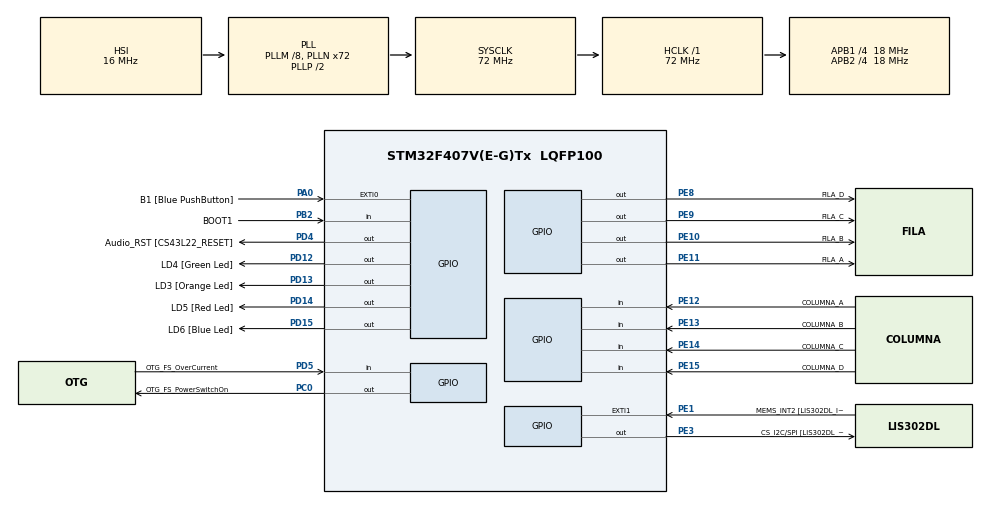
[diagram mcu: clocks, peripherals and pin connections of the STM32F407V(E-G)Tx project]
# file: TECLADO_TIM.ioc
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Mcu.Family=STM32F4
Mcu.Name=STM32F407V(E-G)Tx
Mcu.Package=LQFP100
NVIC.PriorityGroup=NVIC_PRIORITYGROUP_0
NVIC.TIM8_TRG_COM_TIM14_IRQn=true\:0\:0\:false\:false\:true\:true\:true\:true
PA0-WKUP.GPIO_Label=B1 [Blue PushButton]
PA0-WKUP.Signal=GPXTI0
PA10.GPIO_Label=OTG_FS_ID
PA10.GPIO_Mode=GPIO_MODE_AF_PP
PA10.GPIO_PuPd=GPIO_NOPULL
PA10.GPIO_Speed=GPIO_SPEED_FREQ_LOW
PA10.Signal=USB_OTG_FS_ID
PA11.GPIO_Label=OTG_FS_DM
PA11.GPIO_Mode=GPIO_MODE_AF_PP
PA11.GPIO_PuPd=GPIO_NOPULL
PA11.GPIO_Speed=GPIO_SPEED_FREQ_LOW
PA11.Signal=USB_OTG_FS_DM
PA12.GPIO_Label=OTG_FS_DP
PA12.GPIO_Mode=GPIO_MODE_AF_PP
PA12.GPIO_PuPd=GPIO_NOPULL
PA12.GPIO_Speed=GPIO_SPEED_FREQ_LOW
PA12.Signal=USB_OTG_FS_DP
PA13.GPIO_Label=SWDIO
PA13.Signal=SYS_JTMS-SWDIO
PA14.GPIO_Label=SWCLK
PA14.Signal=SYS_JTCK-SWCLK
PA4.GPIO_Label=I2S3_WS [CS43L22_LRCK]
PA4.GPIO_Mode=GPIO_MODE_AF_PP
PA4.GPIO_PuPd=GPIO_NOPULL
PA4.GPIO_Speed=GPIO_SPEED_FREQ_LOW
PA4.Signal=I2S3_WS
PA5.GPIO_Label=SPI1_SCK [LIS302DL_SCL/SPC]
PA5.GPIO_Mode=GPIO_MODE_AF_PP
PA5.GPIO_PuPd=GPIO_NOPULL
PA5.GPIO_Speed=GPIO_SPEED_FREQ_LOW
PA5.Signal=SPI1_SCK
PA6.GPIO_Label=SPI1_MISO [LIS302DL_SDO]
PA6.GPIO_Mode=GPIO_MODE_AF_PP
PA6.GPIO_PuPd=GPIO_NOPULL
PA6.GPIO_Speed=GPIO_SPEED_FREQ_LOW
PA6.Signal=SPI1_MISO
PA7.GPIO_Label=SPI1_MOSI [LIS302DL_SDA/SDI/SDO]
PA7.GPIO_Mode=GPIO_MODE_AF_PP
PA7.GPIO_PuPd=GPIO_NOPULL
PA7.GPIO_Speed=GPIO_SPEED_FREQ_LOW
PA7.Signal=SPI1_MOSI
PA9.GPIO_Label=VBUS_FS
PA9.GPIO_Mode=GPIO_MODE_INPUT
PA9.GPIO_PuPd=GPIO_NOPULL
PA9.Signal=USB_OTG_FS_VBUS
PB10.GPIO_Label=CLK_IN [MP45DT02_CLK]
PB10.GPIO_Mode=GPIO_MODE_AF_PP
PB10.GPIO_PuPd=GPIO_NOPULL
PB10.GPIO_Speed=GPIO_SPEED_FREQ_LOW
PB10.Signal=I2S2_CK
PB2.GPIO_Label=BOOT1
PB2.GPIO_Mode=GPIO_MODE_INPUT
PB2.GPIO_PuPd=GPIO_NOPULL
PB2.Signal=GPIO_Input
PB3.GPIO_Label=SWO
PB3.Signal=SYS_JTDO-SWO
PB6.GPIO_Label=Audio_SCL [CS43L22_SCL]
PB6.GPIO_Mode=GPIO_MODE_AF_OD
PB6.GPIO_PuPd=GPIO_NOPULL
PB6.GPIO_Speed=GPIO_SPEED_FREQ_LOW
PB6.Signal=I2C1_SCL
PB9.GPIO_Label=Audio_SDA [CS43L22_SDA]
PB9.GPIO_Mode=GPIO_MODE_AF_OD
PB9.GPIO_PuPd=GPIO_NOPULL
PB9.GPIO_Speed=GPIO_SPEED_FREQ_LOW
PB9.Signal=I2C1_SDA
PC0.GPIO_Label=OTG_FS_PowerSwitchOn
PC0.GPIO_PuPd=GPIO_NOPULL
PC0.GPIO_Speed=GPIO_SPEED_FREQ_LOW
PC0.PinState=GPIO_PIN_SET
PC0.Signal=GPIO_Output
PC10.GPIO_Label=I2S3_SCK [CS43L22_SCLK]
PC10.GPIO_Mode=GPIO_MODE_AF_PP
PC10.GPIO_PuPd=GPIO_NOPULL
PC10.GPIO_Speed=GPIO_SPEED_FREQ_LOW
PC10.Signal=I2S3_CK
PC12.GPIO_Label=I2S3_SD [CS43L22_SDIN]
PC12.GPIO_Mode=GPIO_MODE_AF_PP
PC12.GPIO_PuPd=GPIO_NOPULL
PC12.GPIO_Speed=GPIO_SPEED_FREQ_LOW
PC12.Signal=I2S3_SD
PC14-OSC32_IN.GPIO_Label=PC14-OSC32_IN
PC14-OSC32_IN.Signal=RCC_OSC32_IN
PC15-OSC32_OUT.GPIO_Label=PC15-OSC32_OUT
PC15-OSC32_OUT.Signal=RCC_OSC32_OUT
PC3.GPIO_Label=PDM_OUT [MP45DT02_DOUT]
PC3.GPIO_Mode=GPIO_MODE_AF_PP
PC3.GPIO_PuPd=GPIO_NOPULL
PC3.GPIO_Speed=GPIO_SPEED_FREQ_LOW
PC3.Signal=I2S2_SD
PC7.GPIO_Label=I2S3_MCK [CS43L22_MCLK]
PC7.GPIO_Mode=GPIO_MODE_AF_PP
PC7.GPIO_PuPd=GPIO_NOPULL
PC7.GPIO_Speed=GPIO_SPEED_FREQ_LOW
PC7.Signal=I2S3_MCK
PD12.GPIO_Label=LD4 [Green Led]
PD12.GPIO_PuPd=GPIO_NOPULL
PD12.GPIO_Speed=GPIO_SPEED_FREQ_LOW
PD12.Signal=GPIO_Output
PD13.GPIO_Label=LD3 [Orange Led]
PD13.GPIO_PuPd=GPIO_NOPULL
PD13.GPIO_Speed=GPIO_SPEED_FREQ_LOW
PD13.Signal=GPIO_Output
PD14.GPIO_Label=LD5 [Red Led]
PD14.GPIO_PuPd=GPIO_NOPULL
PD14.GPIO_Speed=GPIO_SPEED_FREQ_LOW
PD14.Signal=GPIO_Output
PD15.GPIO_Label=LD6 [Blue Led]
PD15.GPIO_PuPd=GPIO_NOPULL
PD15.GPIO_Speed=GPIO_SPEED_FREQ_LOW
PD15.Signal=GPIO_Output
PD4.GPIO_Label=Audio_RST [CS43L22_RESET]
PD4.GPIO_PuPd=GPIO_NOPULL
PD4.GPIO_Speed=GPIO_SPEED_FREQ_LOW
PD4.Signal=GPIO_Output
PD5.GPIO_Label=OTG_FS_OverCurrent
PD5.GPIO_Mode=GPIO_MODE_INPUT
PD5.GPIO_PuPd=GPIO_NOPULL
PD5.Signal=GPIO_Input
PE1.GPIO_Label=MEMS_INT2 [LIS302DL_INT2]
PE1.GPIO_ModeDefaultEXTI=GPIO_MODE_EVT_RISING
PE1.GPIO_PuPd=GPIO_NOPULL
PE1.Signal=GPXTI1
PE10.GPIO_Label=FILA_B
PE10.Signal=GPIO_Output
PE11.GPIO_Label=FILA_A
PE11.Signal=GPIO_Output
PE12.GPIO_Label=COLUMNA_A
PE12.Signal=GPIO_Input
PE13.GPIO_Label=COLUMNA_B
PE13.Signal=GPIO_Input
PE14.GPIO_Label=COLUMNA_C
PE14.Signal=GPIO_Input
PE15.GPIO_Label=COLUMNA_D
PE15.Signal=GPIO_Input
PE3.GPIO_Label=CS_I2C/SPI [LIS302DL_CS_I2C/SPI]
PE3.GPIO_PuPd=GPIO_NOPULL
PE3.GPIO_Speed=GPIO_SPEED_FREQ_LOW
PE3.Signal=GPIO_Output
PE8.GPIO_Label=FILA_D
PE8.Signal=GPIO_Output
PE9.GPIO_Label=FILA_C
PE9.Signal=GPIO_Output
PH0-OSC_IN.GPIO_Label=PH0-OSC_IN
PH0-OSC_IN.Signal=RCC_OSC_IN
PH1-OSC_OUT.GPIO_Label=PH1-OSC_OUT
PH1-OSC_OUT.Signal=RCC_OSC_OUT
ProjectManager.HeapSize=0x200
ProjectManager.StackSize=0x400
ProjectManager.TargetToolchain=STM32CubeIDE
RCC.48MHZClocksFreq_Value=20571428.57142857
RCC.AHBFreq_Value=72000000
RCC.APB1CLKDivider=RCC_HCLK_DIV4
RCC.APB1Freq_Value=18000000
RCC.APB1TimFreq_Value=36000000
RCC.APB2CLKDivider=RCC_HCLK_DIV4
RCC.APB2Freq_Value=18000000
RCC.APB2TimFreq_Value=36000000
RCC.CortexFreq_Value=72000000
RCC.HCLKFreq_Value=72000000
RCC.HSE_VALUE=8000000
RCC.HSI_VALUE=16000000
RCC.LSE_VALUE=32768
RCC.PLLM=8
RCC.PLLN=72
RCC.PLLQ=7
RCC.SYSCLKFreq_VALUE=72000000
RCC.SYSCLKSource=RCC_SYSCLKSOURCE_PLLCLK
RCC.VCOOutputFreq_Value=144000000
TIM14.Period=3
TIM14.Prescaler=4499
VP_TIM14_VS_ClockSourceINT.Mode=Enable_Timer
board=STM32F407G-DISC1

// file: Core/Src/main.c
/* USER CODE BEGIN Header */
/**
  ******************************************************************************
  * @file           : main.c
  * @brief          : Main program body
  ******************************************************************************
  * @attention
  *
  * Copyright (c) 2026 STMicroelectronics.
  * All rights reserved.
  *
  * This software is licensed under terms that can be found in the LICENSE file
  * in the root directory of this software component.
  * If no LICENSE file comes with this software, it is provided AS-IS.
  *
  ******************************************************************************
  */
/* USER CODE END Header */
#include "main.h"

/* USER CODE BEGIN Includes */
#include <stdbool.h>

/* USER CODE END Includes */

/* USER CODE BEGIN PD */

#define UMBRAL 10	// cantidad de ciclos de 1 ms donde se asume boton estable

/* USER CODE END PD */

TIM_HandleTypeDef htim14;

/* USER CODE BEGIN PV */

volatile uint8_t LLAMA_COL = 0;
uint8_t contador_estable = 0;		// checkea cantidad de pulsaciones por lectura de
volatile uint8_t Teclado_Accionado = 16;
bool INICIO_ESTADO_TECLADO = 1;

// Defino estructura para botones del antirrebote
typedef struct
{
	GPIO_PinState ultimo_raw;
	GPIO_PinState estado_filtrado;
	uint8_t contador;
} Debounce_t;

// inicializo las estructuras creadas para cada boton

Debounce_t btn1 = {
		.ultimo_raw = GPIO_PIN_SET,
		.estado_filtrado = GPIO_PIN_SET,
		.contador = 0
};

Debounce_t btn2 = {
		.ultimo_raw = GPIO_PIN_SET,
		.estado_filtrado = GPIO_PIN_SET,
		.contador = 0
};

Debounce_t btn3 = {
		.ultimo_raw = GPIO_PIN_SET,
		.estado_filtrado = GPIO_PIN_SET,
		.contador = 0
};
Debounce_t btn4 = {
		.ultimo_raw = GPIO_PIN_SET,
		.estado_filtrado = GPIO_PIN_SET,
		.contador = 0
};

// -------------- BORRAR ------------------
uint8_t ESTADO = 1;

/* USER CODE END PV */

void SystemClock_Config(void);
static void MX_GPIO_Init(void);
static void MX_TIM14_Init(void);
/* USER CODE BEGIN PFP */
bool VerificarBoton(GPIO_TypeDef* GPIOx, uint16_t GPIO_Pin, Debounce_t *btn);
void INICIO_TECLADO(void);
void TecladoPresiona(void);

/* USER CODE END PFP */

int main(void)
{

  /* MCU Configuration--------------------------------------------------------*/

  /* Reset of all peripherals, Initializes the Flash interface and the Systick. */
  HAL_Init();

  /* Configure the system clock */
  SystemClock_Config();

  /* Initialize all configured peripherals */
  MX_GPIO_Init();
  MX_TIM14_Init();

  /* USER CODE BEGIN 2 */

  // Iniciamos el Timer 14
//  HAL_TIM_Base_Start_IT(&htim14);
  INICIO_TECLADO();

  /* USER CODE END 2 */

  /* Infinite loop */
  while (1)
  {

    /* USER CODE BEGIN 3 */

//	  En el ESTADO de MAIN y JUGADOR se coloca esta estructura

	  if (ESTADO == 0)
		  {
			  HAL_GPIO_WritePin(LD4_GPIO_Port, LD4_Pin, GPIO_PIN_SET);
		  }

	  if (ESTADO == 1)
	  {
		  if (INICIO_ESTADO_TECLADO == 1)
		  {
			  HAL_TIM_Base_Start_IT(&htim14);
			  INICIO_ESTADO_TECLADO = 0;
		  }

		  TecladoPresiona();

	  	  switch (Teclado_Accionado)
	  	  {

			  case 5: HAL_GPIO_WritePin(LD6_GPIO_Port, LD6_Pin, GPIO_PIN_SET); break;
			  case 7: HAL_GPIO_WritePin(LD6_GPIO_Port, LD6_Pin, GPIO_PIN_RESET); break;
			  case 8:
			  {
				  HAL_TIM_Base_Stop_IT(&htim14);
				  ESTADO = 0;
				  INICIO_ESTADO_TECLADO = 1;

			  } break;

		  }// END SWITCH

	  	  Teclado_Accionado = 16;

	  } // END ESTADO 1

  }
  /* USER CODE END 3 */
}

void SystemClock_Config(void)
{
  RCC_OscInitTypeDef RCC_OscInitStruct = {0};
  RCC_ClkInitTypeDef RCC_ClkInitStruct = {0};

  /** Configure the main internal regulator output voltage
  */
  __HAL_RCC_PWR_CLK_ENABLE();
  __HAL_PWR_VOLTAGESCALING_CONFIG(PWR_REGULATOR_VOLTAGE_SCALE1);

  /** Initializes the RCC Oscillators according to the specified parameters
  * in the RCC_OscInitTypeDef structure.
  */
  RCC_OscInitStruct.OscillatorType = RCC_OSCILLATORTYPE_HSI;
  RCC_OscInitStruct.HSIState = RCC_HSI_ON;
  RCC_OscInitStruct.HSICalibrationValue = RCC_HSICALIBRATION_DEFAULT;
  RCC_OscInitStruct.PLL.PLLState = RCC_PLL_ON;
  RCC_OscInitStruct.PLL.PLLSource = RCC_PLLSOURCE_HSI;
  RCC_OscInitStruct.PLL.PLLM = 8;
  RCC_OscInitStruct.PLL.PLLN = 72;
  RCC_OscInitStruct.PLL.PLLP = RCC_PLLP_DIV2;
  RCC_OscInitStruct.PLL.PLLQ = 7;
  if (HAL_RCC_OscConfig(&RCC_OscInitStruct) != HAL_OK)
  {
    Error_Handler();
  }

  /** Initializes the CPU, AHB and APB buses clocks
  */
  RCC_ClkInitStruct.ClockType = RCC_CLOCKTYPE_HCLK|RCC_CLOCKTYPE_SYSCLK
                              |RCC_CLOCKTYPE_PCLK1|RCC_CLOCKTYPE_PCLK2;
  RCC_ClkInitStruct.SYSCLKSource = RCC_SYSCLKSOURCE_PLLCLK;
  RCC_ClkInitStruct.AHBCLKDivider = RCC_SYSCLK_DIV1;
  RCC_ClkInitStruct.APB1CLKDivider = RCC_HCLK_DIV4;
  RCC_ClkInitStruct.APB2CLKDivider = RCC_HCLK_DIV4;

  if (HAL_RCC_ClockConfig(&RCC_ClkInitStruct, FLASH_LATENCY_2) != HAL_OK)
  {
    Error_Handler();
  }
}

static void MX_TIM14_Init(void)
{

  htim14.Instance = TIM14;
  htim14.Init.Prescaler = 4499;
  htim14.Init.CounterMode = TIM_COUNTERMODE_UP;
  htim14.Init.Period = 3;
  htim14.Init.ClockDivision = TIM_CLOCKDIVISION_DIV1;
  htim14.Init.AutoReloadPreload = TIM_AUTORELOAD_PRELOAD_DISABLE;
  if (HAL_TIM_Base_Init(&htim14) != HAL_OK)
  {
    Error_Handler();
  }

}

static void MX_GPIO_Init(void)
{
  GPIO_InitTypeDef GPIO_InitStruct = {0};

  /* GPIO Ports Clock Enable */
  __HAL_RCC_GPIOE_CLK_ENABLE();
  __HAL_RCC_GPIOC_CLK_ENABLE();
  __HAL_RCC_GPIOH_CLK_ENABLE();
  __HAL_RCC_GPIOA_CLK_ENABLE();
  __HAL_RCC_GPIOB_CLK_ENABLE();
  __HAL_RCC_GPIOD_CLK_ENABLE();

  /*Configure GPIO pin Output Level */
  HAL_GPIO_WritePin(GPIOE, CS_I2C_SPI_Pin|FILA_D_Pin|FILA_C_Pin|FILA_B_Pin
                          |FILA_A_Pin, GPIO_PIN_RESET);

  /*Configure GPIO pin Output Level */
  HAL_GPIO_WritePin(OTG_FS_PowerSwitchOn_GPIO_Port, OTG_FS_PowerSwitchOn_Pin, GPIO_PIN_SET);

  /*Configure GPIO pin Output Level */
  HAL_GPIO_WritePin(GPIOD, LD4_Pin|LD3_Pin|LD5_Pin|LD6_Pin
                          |Audio_RST_Pin, GPIO_PIN_RESET);

  /*Configure GPIO pins : CS_I2C_SPI_Pin FILA_D_Pin FILA_C_Pin FILA_B_Pin
                           FILA_A_Pin */
  GPIO_InitStruct.Pin = CS_I2C_SPI_Pin|FILA_D_Pin|FILA_C_Pin|FILA_B_Pin
                          |FILA_A_Pin;
  GPIO_InitStruct.Mode = GPIO_MODE_OUTPUT_PP;
  GPIO_InitStruct.Pull = GPIO_NOPULL;
  GPIO_InitStruct.Speed = GPIO_SPEED_FREQ_LOW;
  HAL_GPIO_Init(GPIOE, &GPIO_InitStruct);

  /*Configure GPIO pin : OTG_FS_PowerSwitchOn_Pin */
  GPIO_InitStruct.Pin = OTG_FS_PowerSwitchOn_Pin;
  GPIO_InitStruct.Mode = GPIO_MODE_OUTPUT_PP;
  GPIO_InitStruct.Pull = GPIO_NOPULL;
  GPIO_InitStruct.Speed = GPIO_SPEED_FREQ_LOW;
  HAL_GPIO_Init(OTG_FS_PowerSwitchOn_GPIO_Port, &GPIO_InitStruct);

  /*Configure GPIO pin : PDM_OUT_Pin */
  GPIO_InitStruct.Pin = PDM_OUT_Pin;
  GPIO_InitStruct.Mode = GPIO_MODE_AF_PP;
  GPIO_InitStruct.Pull = GPIO_NOPULL;
  GPIO_InitStruct.Speed = GPIO_SPEED_FREQ_LOW;
  GPIO_InitStruct.Alternate = GPIO_AF5_SPI2;
  HAL_GPIO_Init(PDM_OUT_GPIO_Port, &GPIO_InitStruct);

  /*Configure GPIO pin : B1_Pin */
  GPIO_InitStruct.Pin = B1_Pin;
  GPIO_InitStruct.Mode = GPIO_MODE_IT_RISING;
  GPIO_InitStruct.Pull = GPIO_NOPULL;
  HAL_GPIO_Init(B1_GPIO_Port, &GPIO_InitStruct);

  /*Configure GPIO pin : I2S3_WS_Pin */
  GPIO_InitStruct.Pin = I2S3_WS_Pin;
  GPIO_InitStruct.Mode = GPIO_MODE_AF_PP;
  GPIO_InitStruct.Pull = GPIO_NOPULL;
  GPIO_InitStruct.Speed = GPIO_SPEED_FREQ_LOW;
  GPIO_InitStruct.Alternate = GPIO_AF6_SPI3;
  HAL_GPIO_Init(I2S3_WS_GPIO_Port, &GPIO_InitStruct);

  /*Configure GPIO pins : SPI1_SCK_Pin SPI1_MISO_Pin SPI1_MOSI_Pin */
  GPIO_InitStruct.Pin = SPI1_SCK_Pin|SPI1_MISO_Pin|SPI1_MOSI_Pin;
  GPIO_InitStruct.Mode = GPIO_MODE_AF_PP;
  GPIO_InitStruct.Pull = GPIO_NOPULL;
  GPIO_InitStruct.Speed = GPIO_SPEED_FREQ_LOW;
  GPIO_InitStruct.Alternate = GPIO_AF5_SPI1;
  HAL_GPIO_Init(GPIOA, &GPIO_InitStruct);

  /*Configure GPIO pin : BOOT1_Pin */
  GPIO_InitStruct.Pin = BOOT1_Pin;
  GPIO_InitStruct.Mode = GPIO_MODE_INPUT;
  GPIO_InitStruct.Pull = GPIO_NOPULL;
  HAL_GPIO_Init(BOOT1_GPIO_Port, &GPIO_InitStruct);

  /*Configure GPIO pins : COLUMNA_A_Pin COLUMNA_B_Pin COLUMNA_C_Pin COLUMNA_D_Pin */
  GPIO_InitStruct.Pin = COLUMNA_A_Pin|COLUMNA_B_Pin|COLUMNA_C_Pin|COLUMNA_D_Pin;
  GPIO_InitStruct.Mode = GPIO_MODE_INPUT;
  GPIO_InitStruct.Pull = GPIO_NOPULL;
  HAL_GPIO_Init(GPIOE, &GPIO_InitStruct);

  /*Configure GPIO pin : CLK_IN_Pin */
  GPIO_InitStruct.Pin = CLK_IN_Pin;
  GPIO_InitStruct.Mode = GPIO_MODE_AF_PP;
  GPIO_InitStruct.Pull = GPIO_NOPULL;
  GPIO_InitStruct.Speed = GPIO_SPEED_FREQ_LOW;
  GPIO_InitStruct.Alternate = GPIO_AF5_SPI2;
  HAL_GPIO_Init(CLK_IN_GPIO_Port, &GPIO_InitStruct);

  /*Configure GPIO pins : LD4_Pin LD3_Pin LD5_Pin LD6_Pin
                           Audio_RST_Pin */
  GPIO_InitStruct.Pin = LD4_Pin|LD3_Pin|LD5_Pin|LD6_Pin
                          |Audio_RST_Pin;
  GPIO_InitStruct.Mode = GPIO_MODE_OUTPUT_PP;
  GPIO_InitStruct.Pull = GPIO_NOPULL;
  GPIO_InitStruct.Speed = GPIO_SPEED_FREQ_LOW;
  HAL_GPIO_Init(GPIOD, &GPIO_InitStruct);

  /*Configure GPIO pins : I2S3_MCK_Pin I2S3_SCK_Pin I2S3_SD_Pin */
  GPIO_InitStruct.Pin = I2S3_MCK_Pin|I2S3_SCK_Pin|I2S3_SD_Pin;
  GPIO_InitStruct.Mode = GPIO_MODE_AF_PP;
  GPIO_InitStruct.Pull = GPIO_NOPULL;
  GPIO_InitStruct.Speed = GPIO_SPEED_FREQ_LOW;
  GPIO_InitStruct.Alternate = GPIO_AF6_SPI3;
  HAL_GPIO_Init(GPIOC, &GPIO_InitStruct);

  /*Configure GPIO pin : VBUS_FS_Pin */
  GPIO_InitStruct.Pin = VBUS_FS_Pin;
  GPIO_InitStruct.Mode = GPIO_MODE_INPUT;
  GPIO_InitStruct.Pull = GPIO_NOPULL;
  HAL_GPIO_Init(VBUS_FS_GPIO_Port, &GPIO_InitStruct);

  /*Configure GPIO pins : OTG_FS_ID_Pin OTG_FS_DM_Pin OTG_FS_DP_Pin */
  GPIO_InitStruct.Pin = OTG_FS_ID_Pin|OTG_FS_DM_Pin|OTG_FS_DP_Pin;
  GPIO_InitStruct.Mode = GPIO_MODE_AF_PP;
  GPIO_InitStruct.Pull = GPIO_NOPULL;
  GPIO_InitStruct.Speed = GPIO_SPEED_FREQ_LOW;
  GPIO_InitStruct.Alternate = GPIO_AF10_OTG_FS;
  HAL_GPIO_Init(GPIOA, &GPIO_InitStruct);

  /*Configure GPIO pin : OTG_FS_OverCurrent_Pin */
  GPIO_InitStruct.Pin = OTG_FS_OverCurrent_Pin;
  GPIO_InitStruct.Mode = GPIO_MODE_INPUT;
  GPIO_InitStruct.Pull = GPIO_NOPULL;
  HAL_GPIO_Init(OTG_FS_OverCurrent_GPIO_Port, &GPIO_InitStruct);

  /*Configure GPIO pins : Audio_SCL_Pin Audio_SDA_Pin */
  GPIO_InitStruct.Pin = Audio_SCL_Pin|Audio_SDA_Pin;
  GPIO_InitStruct.Mode = GPIO_MODE_AF_OD;
  GPIO_InitStruct.Pull = GPIO_NOPULL;
  GPIO_InitStruct.Speed = GPIO_SPEED_FREQ_LOW;
  GPIO_InitStruct.Alternate = GPIO_AF4_I2C1;
  HAL_GPIO_Init(GPIOB, &GPIO_InitStruct);

  /*Configure GPIO pin : MEMS_INT2_Pin */
  GPIO_InitStruct.Pin = MEMS_INT2_Pin;
  GPIO_InitStruct.Mode = GPIO_MODE_EVT_RISING;
  GPIO_InitStruct.Pull = GPIO_NOPULL;
  HAL_GPIO_Init(MEMS_INT2_GPIO_Port, &GPIO_InitStruct);

}

/* USER CODE BEGIN 4 */

//INICIALIZO FILAS EN 1 (SET)
void INICIO_TECLADO(void)
{
	HAL_GPIO_WritePin(FILA_A_GPIO_Port, FILA_A_Pin, GPIO_PIN_SET);
	HAL_GPIO_WritePin(FILA_B_GPIO_Port, FILA_B_Pin, GPIO_PIN_SET);
	HAL_GPIO_WritePin(FILA_C_GPIO_Port, FILA_C_Pin, GPIO_PIN_SET);
	HAL_GPIO_WritePin(FILA_D_GPIO_Port, FILA_D_Pin, GPIO_PIN_SET);
}

bool VerificarBoton(GPIO_TypeDef* GPIOx, uint16_t GPIO_Pin, Debounce_t *btn)
{
	// Lectura "anterior"
	GPIO_PinState lectura = HAL_GPIO_ReadPin(GPIOx, GPIO_Pin);

	// Chequeo si lectura anterior != lectura actual
	if (lectura != btn->ultimo_raw)
	{
		btn->contador = 0;
		btn->ultimo_raw = lectura;
	}
	else
	{
		if (btn->contador < UMBRAL)
			btn->contador++;
	}

	// si contador pasa el umbral y si significa boton apretado entonces acciona
	if (btn->contador >= UMBRAL)
	{
		if (btn->estado_filtrado != lectura)
		{
			btn->estado_filtrado = lectura;

			// flanco de subida
			if (lectura == GPIO_PIN_SET)
			{
				return true;
			}
		}
	}
	return false;
}

// Rutina de atención a la interrupción del temporizador 14
void HAL_TIM_PeriodElapsedCallback(TIM_HandleTypeDef *htim) {

	// Checkea estado boton COLUMNA_A
	if (VerificarBoton(COLUMNA_A_GPIO_Port, COLUMNA_A_Pin, &btn1)) LLAMA_COL = 1;

	// Checkea estado boton COLUMNA_B
	else if (VerificarBoton(COLUMNA_B_GPIO_Port, COLUMNA_B_Pin, &btn2)) LLAMA_COL = 2;

	// Checkea estado boton COLUMNA_C
	else if (VerificarBoton(COLUMNA_C_GPIO_Port, COLUMNA_C_Pin, &btn3)) LLAMA_COL = 3;

	// Checkea estado boton COLUMNA_D
	else if (VerificarBoton(COLUMNA_D_GPIO_Port, COLUMNA_D_Pin, &btn4)) LLAMA_COL = 4;

	else LLAMA_COL = 0;

}

void TecladoPresiona(void) {

	if (LLAMA_COL == 0) return;

	HAL_TIM_Base_Stop_IT(&htim14);

	switch (LLAMA_COL)
	{
		case 1:
		{
			// Accion sobre MT(0,0) o 0
			HAL_GPIO_WritePin(FILA_A_GPIO_Port, FILA_A_Pin, GPIO_PIN_RESET);
//			HAL_Delay(1);
			if (HAL_GPIO_ReadPin(COLUMNA_A_GPIO_Port, COLUMNA_A_Pin) == GPIO_PIN_RESET){
				Teclado_Accionado = 0;
				break;
			}
			HAL_GPIO_WritePin(FILA_A_GPIO_Port, FILA_A_Pin, GPIO_PIN_SET);

			// Accion sobre MT(1,0) o 4
			HAL_GPIO_WritePin(FILA_B_GPIO_Port, FILA_B_Pin, GPIO_PIN_RESET);
//			HAL_Delay(1);
			if (HAL_GPIO_ReadPin(COLUMNA_A_GPIO_Port, COLUMNA_A_Pin) == GPIO_PIN_RESET){
				Teclado_Accionado = 4;
				break;
			}
			HAL_GPIO_WritePin(FILA_B_GPIO_Port, FILA_B_Pin, GPIO_PIN_SET);

			// Accion sobre MT(2,0) o 8
			HAL_GPIO_WritePin(FILA_C_GPIO_Port, FILA_C_Pin, GPIO_PIN_RESET);
//			HAL_Delay(1);
			if (HAL_GPIO_ReadPin(COLUMNA_A_GPIO_Port, COLUMNA_A_Pin) == GPIO_PIN_RESET){
				Teclado_Accionado = 8;
				break;
			}
			HAL_GPIO_WritePin(FILA_C_GPIO_Port, FILA_C_Pin, GPIO_PIN_SET);

			// Accion sobre MT(3,0) o 12
			HAL_GPIO_WritePin(FILA_D_GPIO_Port, FILA_D_Pin, GPIO_PIN_RESET);
//			HAL_Delay(1);
			if (HAL_GPIO_ReadPin(COLUMNA_A_GPIO_Port, COLUMNA_A_Pin) == GPIO_PIN_RESET){
				Teclado_Accionado = 12;
				break;
			}
			HAL_GPIO_WritePin(FILA_D_GPIO_Port, FILA_D_Pin, GPIO_PIN_SET);
		} break;

		//CHECKEO SOLO COLUMNA B
		case 2:
		{
			// Accion sobre MT(0,1) o 1
			HAL_GPIO_WritePin(FILA_A_GPIO_Port, FILA_A_Pin, GPIO_PIN_RESET);
//			HAL_Delay(1);
			if (HAL_GPIO_ReadPin(COLUMNA_B_GPIO_Port, COLUMNA_B_Pin) == GPIO_PIN_RESET){
				Teclado_Accionado = 1;
				break;
			}
			HAL_GPIO_WritePin(FILA_A_GPIO_Port, FILA_A_Pin, GPIO_PIN_SET);

			// Accion sobre MT(1,1) o 5
			HAL_GPIO_WritePin(FILA_B_GPIO_Port, FILA_B_Pin, GPIO_PIN_RESET);
//			HAL_Delay(1);
			if (HAL_GPIO_ReadPin(COLUMNA_B_GPIO_Port, COLUMNA_B_Pin) == GPIO_PIN_RESET){
				Teclado_Accionado = 5;
				break;
			}
			HAL_GPIO_WritePin(FILA_B_GPIO_Port, FILA_B_Pin, GPIO_PIN_SET);

			// Accion sobre MT(2,1) o 9
			HAL_GPIO_WritePin(FILA_C_GPIO_Port, FILA_C_Pin, GPIO_PIN_RESET);
//			HAL_Delay(1);
			if (HAL_GPIO_ReadPin(COLUMNA_B_GPIO_Port, COLUMNA_B_Pin) == GPIO_PIN_RESET){
				Teclado_Accionado = 9;
				break;
			}
			HAL_GPIO_WritePin(FILA_C_GPIO_Port, FILA_C_Pin, GPIO_PIN_SET);

			// Accion sobre MT(3,1) o 13
			HAL_GPIO_WritePin(FILA_D_GPIO_Port, FILA_D_Pin, GPIO_PIN_RESET);
//			HAL_Delay(1);
			if (HAL_GPIO_ReadPin(COLUMNA_B_GPIO_Port, COLUMNA_B_Pin) == GPIO_PIN_RESET){
				Teclado_Accionado = 13;
				break;
			}
			HAL_GPIO_WritePin(FILA_D_GPIO_Port, FILA_D_Pin, GPIO_PIN_SET);
		} break;

		//CHEQUEO SOLO COLUMNA C
		case 3:
		{
			// Accion sobre MT(0,2) o 2
			HAL_GPIO_WritePin(FILA_A_GPIO_Port, FILA_A_Pin, GPIO_PIN_RESET);
//			HAL_Delay(1);
			if (HAL_GPIO_ReadPin(COLUMNA_C_GPIO_Port, COLUMNA_C_Pin) == GPIO_PIN_RESET){
				Teclado_Accionado = 2;
				break;
			}
			HAL_GPIO_WritePin(FILA_A_GPIO_Port, FILA_A_Pin, GPIO_PIN_SET);

			// Accion sobre MT(1,2) o 6
			HAL_GPIO_WritePin(FILA_B_GPIO_Port, FILA_B_Pin, GPIO_PIN_RESET);
//			HAL_Delay(1);
			if (HAL_GPIO_ReadPin(COLUMNA_C_GPIO_Port, COLUMNA_C_Pin) == GPIO_PIN_RESET){
				Teclado_Accionado = 6;
				break;
			}
			HAL_GPIO_WritePin(FILA_B_GPIO_Port, FILA_B_Pin, GPIO_PIN_SET);

			// Accion sobre MT(2,2) o 10
			HAL_GPIO_WritePin(FILA_C_GPIO_Port, FILA_C_Pin, GPIO_PIN_RESET);
//			HAL_Delay(1);
			if (HAL_GPIO_ReadPin(COLUMNA_C_GPIO_Port, COLUMNA_C_Pin) == GPIO_PIN_RESET){
				Teclado_Accionado = 10;
				break;
			}
			HAL_GPIO_WritePin(FILA_C_GPIO_Port, FILA_C_Pin, GPIO_PIN_SET);

			// Accion sobre MT(3,2) o 14
			HAL_GPIO_WritePin(FILA_D_GPIO_Port, FILA_D_Pin, GPIO_PIN_RESET);
//			HAL_Delay(1);
			if (HAL_GPIO_ReadPin(COLUMNA_C_GPIO_Port, COLUMNA_C_Pin) == GPIO_PIN_RESET){
				Teclado_Accionado = 14;
				break;
			}
			HAL_GPIO_WritePin(FILA_D_GPIO_Port, FILA_D_Pin, GPIO_PIN_SET);
		} break;
		case 4:
		{
			// Accion sobre MT(0,3) o 3
			HAL_GPIO_WritePin(FILA_A_GPIO_Port, FILA_A_Pin, GPIO_PIN_RESET);
//			HAL_Delay(1);
			if (HAL_GPIO_ReadPin(COLUMNA_D_GPIO_Port, COLUMNA_D_Pin) == GPIO_PIN_RESET){
				Teclado_Accionado = 3;
				break;
			}
			HAL_GPIO_WritePin(FILA_A_GPIO_Port, FILA_A_Pin, GPIO_PIN_SET);

			// Accion sobre MT(1,3) o 7
			HAL_GPIO_WritePin(FILA_B_GPIO_Port, FILA_B_Pin, GPIO_PIN_RESET);
//			HAL_Delay(1);
			if (HAL_GPIO_ReadPin(COLUMNA_D_GPIO_Port, COLUMNA_D_Pin) == GPIO_PIN_RESET){
				Teclado_Accionado = 7;
				break;
			}
			HAL_GPIO_WritePin(FILA_B_GPIO_Port, FILA_B_Pin, GPIO_PIN_SET);

			// Accion sobre MT(2,3) o 11
			HAL_GPIO_WritePin(FILA_C_GPIO_Port, FILA_C_Pin, GPIO_PIN_RESET);
//			HAL_Delay(1);
			if (HAL_GPIO_ReadPin(COLUMNA_D_GPIO_Port, COLUMNA_D_Pin) == GPIO_PIN_RESET){
				Teclado_Accionado = 11;
				break;
			}
			HAL_GPIO_WritePin(FILA_C_GPIO_Port, FILA_C_Pin, GPIO_PIN_SET);

			// Accion sobre MT(3,3) o 15
			HAL_GPIO_WritePin(FILA_D_GPIO_Port, FILA_D_Pin, GPIO_PIN_RESET);
//			HAL_Delay(1);
			if (HAL_GPIO_ReadPin(COLUMNA_D_GPIO_Port, COLUMNA_D_Pin) == GPIO_PIN_RESET){
				Teclado_Accionado = 15;
				break;
			}
			HAL_GPIO_WritePin(FILA_D_GPIO_Port, FILA_D_Pin, GPIO_PIN_SET);
		} break;

	} // END SWITCH

	LLAMA_COL = 0;
	INICIO_TECLADO();
	HAL_TIM_Base_Start_IT(&htim14);

}

/* USER CODE END 4 */

void Error_Handler(void)
{
  __disable_irq();
  while (1)
  {
  }
}
